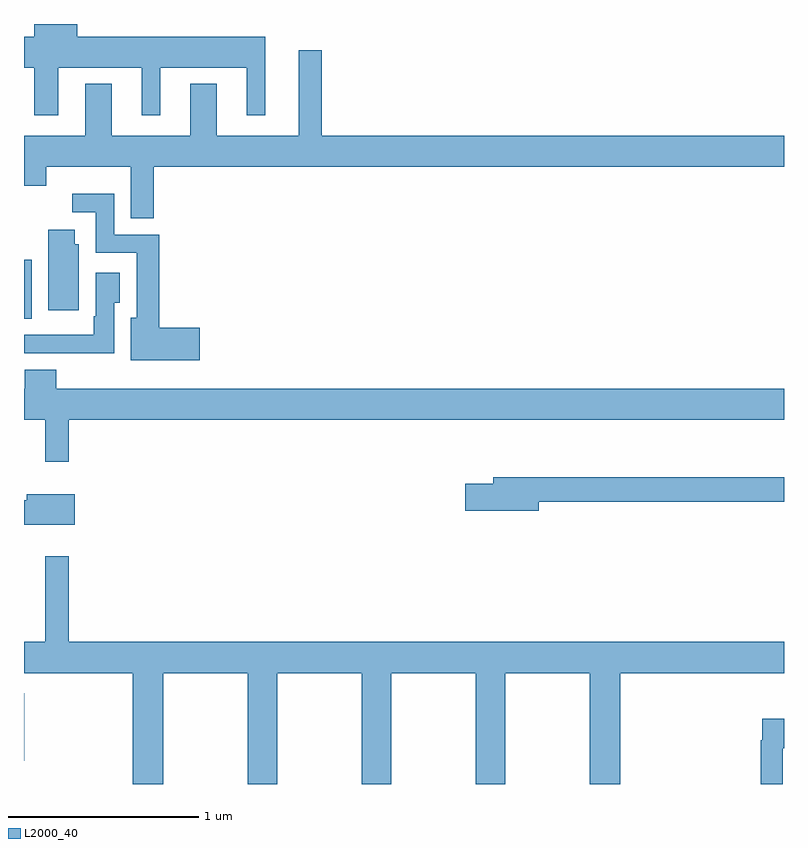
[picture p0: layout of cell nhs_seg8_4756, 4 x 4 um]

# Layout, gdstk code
import gdstk
lib = gdstk.Library(unit=1e-6, precision=1e-09)
def R(c, l, rs):  # rectangles x0, y0, x1, y1
    for r in rs: c.add(gdstk.rectangle(r[:2], r[2:], *l))
def P(c, l, *ps):  # polygons
    for p in ps: c.add(gdstk.Polygon(p, *l))
L2000_40 = (2000, 40)

nhs_seg8_4756 = lib.new_cell('nhs_seg8_4756')
R(nhs_seg8_4756, L2000_40, [(399,1132.022,399.002,1132.378), (399,1134.349,399.04,1134.66)])
P(nhs_seg8_4756, L2000_40, [(399.181,1135.67),(399.62,1135.67),(399.62,1135.419),(399.718,1135.419),(399.718,1135.67),(400.172,1135.67),(400.172,1135.419),(400.27,1135.419),(400.27,1135.834),(399.281,1135.834),(399.281,1135.9),(399.053,1135.9),(399.053,1135.834),(399,1135.834),(399,1135.67),(399.053,1135.67),(399.053,1135.419),(399.181,1135.419)],
  [(399.682,1135.148),(403,1135.148),(403,1135.312),(400.567,1135.312),(400.567,1135.762),(400.445,1135.762),(400.445,1135.312),(400.015,1135.312),(400.015,1135.585),(399.875,1135.585),(399.875,1135.312),(399.463,1135.312),(399.463,1135.585),(399.323,1135.585),(399.323,1135.312),(399,1135.312),(399,1135.049),(399.117,1135.049),(399.117,1135.148),(399.563,1135.148),(399.563,1134.877),(399.682,1134.877)],
  [(399.925,1134.302),(399.712,1134.302),(399.712,1134.792),(399.474,1134.792),(399.474,1135.006),(399.255,1135.006),(399.255,1134.909),(399.378,1134.909),(399.378,1134.696),(399.593,1134.696),(399.593,1134.355),(399.563,1134.355),(399.563,1134.131),(399.925,1134.131)],
  [(399.289,1134.741),(399.268,1134.741),(399.268,1134.817),(399.128,1134.817),(399.128,1134.393),(399.289,1134.393)],
  [(399.474,1134.433),(399.505,1134.433),(399.505,1134.592),(399.378,1134.592),(399.378,1134.361),(399.366,1134.361),(399.366,1134.264),(399,1134.264),(399,1134.168),(399.253,1134.168),(399.253,1134.167),(399.474,1134.167)],
  [(399.235,1133.816),(403,1133.816),(403,1133.98),(399.17,1133.98),(399.17,1134.079),(399.005,1134.079),(399.005,1133.98),(399,1133.98),(399,1133.816),(399.113,1133.816),(399.113,1133.595),(399.235,1133.595)],
  [(401.71,1133.386),(403,1133.386),(403,1133.515),(401.471,1133.515),(401.471,1133.481),(401.322,1133.481),(401.322,1133.339),(401.71,1133.339)],
  [(399.268,1133.425),(399.014,1133.425),(399.014,1133.393),(399,1133.393),(399,1133.264),(399.268,1133.264)],
  [(399.732,1132.484),(400.177,1132.484),(400.177,1131.9),(400.332,1131.9),(400.332,1132.484),(400.777,1132.484),(400.777,1131.9),(400.932,1131.9),(400.932,1132.484),(401.377,1132.484),(401.377,1131.9),(401.532,1131.9),(401.532,1132.484),(401.977,1132.484),(401.977,1131.9),(402.137,1131.9),(402.137,1132.484),(403,1132.484),(403,1132.648),(399.235,1132.648),(399.235,1133.098),(399.113,1133.098),(399.113,1132.648),(399,1132.648),(399,1132.484),(399.572,1132.484),(399.572,1131.9),(399.732,1131.9)],
  [(402.993,1132.087),(403,1132.087),(403,1132.243),(402.885,1132.243),(402.885,1132.13),(402.877,1132.13),(402.877,1131.9),(402.993,1131.9)])

lib.write_gds('nhs_seg8_4756.gds')
